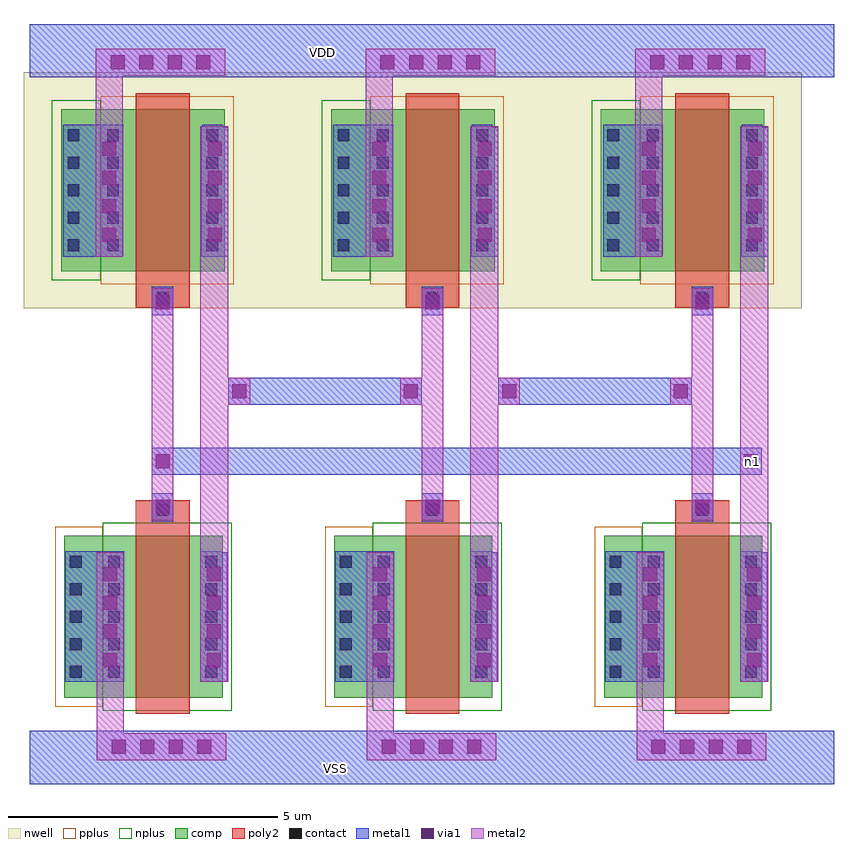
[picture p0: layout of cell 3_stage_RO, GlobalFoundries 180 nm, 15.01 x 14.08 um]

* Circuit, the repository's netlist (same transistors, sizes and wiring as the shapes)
* Extracted by KLayout with GF180MCU LVS runset on : 31/08/2025 02:00

.SUBCKT 3_stage_RO VSS n1 VDD
M$1 \$2 n1 VDD VDD pfet_03v3 L=1U W=3U AS=1.95P AD=1.95P PS=7.3U PD=7.3U
M$2 \$3 \$2 VDD VDD pfet_03v3 L=1U W=3U AS=1.95P AD=1.95P PS=7.3U PD=7.3U
M$3 n1 \$3 VDD VDD pfet_03v3 L=1U W=3U AS=1.95P AD=1.95P PS=7.3U PD=7.3U
M$4 \$2 n1 VSS VSS nfet_03v3 L=1U W=3U AS=1.83P AD=1.83P PS=7.22U PD=7.22U
M$5 \$3 \$2 VSS VSS nfet_03v3 L=1U W=3U AS=1.83P AD=1.83P PS=7.22U PD=7.22U
M$6 n1 \$3 VSS VSS nfet_03v3 L=1U W=3U AS=1.83P AD=1.83P PS=7.22U PD=7.22U
.ENDS 3_stage_RO

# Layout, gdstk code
from math import pi, radians
import gdstk
lib = gdstk.Library(unit=1e-6, precision=1e-09)
def R(c, l, rs):  # rectangles x0, y0, x1, y1
    for r in rs: c.add(gdstk.rectangle(r[:2], r[2:], *l))
def A(c, l, x, y, w, h, nx, ny, dx, dy):  # array of equal rectangles
    R(c, l, [(x+i*dx, y+j*dy, x+i*dx+w, y+j*dy+h) for i in range(nx) for j in range(ny)])
nwell = (21, 0)
comp = (22, 0)
poly2 = (30, 0)
pplus = (31, 0)
nplus = (32, 0)
contact = (33, 0)
metal1 = (34, 0)
via1 = (35, 0)
metal2 = (36, 0)

pfet = lib.new_cell('pfet')

nfet = lib.new_cell('nfet')
R(nfet, comp, [(-0.42,0,0,3), (0,0,1.38,3), (1.38,0,1.8,3), (1.8,0,2.51,3)])
R(nfet, poly2, [(0.19,-0.3,1.19,3.3), (0.19,3.3,1.19,3.66)])
R(nfet, pplus, [(1.8,-0.17,2.68,3.17)])
R(nfet, nplus, [(-0.59,-0.24,1.8,3.24)])
A(nfet, contact, -0.32, 0.37, 0.22, 0.22, 1, 5, 0, 0.51)
A(nfet, contact, 1.48, 0.37, 0.22, 0.22, 1, 5, 0, 0.51)
A(nfet, contact, 2.19, 0.37, 0.22, 0.22, 1, 5, 0, 0.51)
R(nfet, contact, [(0.58,3.37,0.8,3.59)])
R(nfet, metal1, [(-0.4,0.29,-0.02,2.71), (1.4,0.29,1.78,2.71), (2.11,0.29,2.49,2.71), (0.5,3.289,0.88,3.671)])

pfet_1 = lib.new_cell('pfet$1')
R(pfet_1, nwell, [(-1.15,-0.69,3.26,3.69)])
R(pfet_1, comp, [(-0.46,0,0,3), (0,0,1.38,3), (1.38,0,1.84,3), (1.84,0,2.57,3)])
R(pfet_1, poly2, [(0.19,-0.3,1.19,3.3), (0.19,3.3,1.19,3.68)])
R(pfet_1, pplus, [(-0.63,-0.24,1.84,3.24)])
R(pfet_1, nplus, [(1.84,-0.17,2.74,3.17)])
A(pfet_1, contact, -0.34, 0.37, 0.22, 0.22, 1, 5, 0, 0.51)
A(pfet_1, contact, 1.5, 0.37, 0.22, 0.22, 1, 5, 0, 0.51)
A(pfet_1, contact, 2.23, 0.37, 0.22, 0.22, 1, 5, 0, 0.51)
R(pfet_1, contact, [(0.58,3.38,0.8,3.6)])
R(pfet_1, metal1, [(-0.42,0.29,-0.04,2.71), (1.42,0.29,1.8,2.71), (2.15,0.29,2.53,2.71), (0.5,3.299,0.88,3.681)])

via_dev = lib.new_cell('via_dev')
R(via_dev, metal1, [(0,0,0.5,2.4)])
A(via_dev, via1, 0.12, 0.275, 0.26, 0.26, 1, 4, 0, 0.53)
R(via_dev, metal2, [(0,0,0.5,2.4)])

via_dev_1 = lib.new_cell('via_dev$1')
R(via_dev_1, metal1, [(0,0,2.4,0.5)])
A(via_dev_1, via1, 0.275, 0.12, 0.26, 0.26, 4, 1, 0.53, 0)
R(via_dev_1, metal2, [(0,0,2.4,0.5)])

via_dev_2 = lib.new_cell('via_dev$2')
R(via_dev_2, metal1, [(0,0,0.4,0.5)])
R(via_dev_2, via1, [(0.07,0.12,0.33,0.38)])
R(via_dev_2, metal2, [(0,0,0.4,0.5)])

inverter = lib.new_cell('inverter')
R(inverter, metal1, [(-1.76,-1.6,3.14,-0.61), (-0.72,0.29,-0.39,2.71), (0.5,3.26,0.9,3.29), (0.5,7.58,0.9,7.61), (-1.14,8.17,-0.41,10.61), (-1.76,11.49,3.14,12.48)])
R(inverter, metal2, [(-0.52,-0.66,-0.02,0.29), (1.4,0.29,1.92,10.59), (0.5,3.79,0.9,7.08), (-0.54,10.57,-0.04,11.52)])
inverter.add(gdstk.Reference(pfet, (-1.505,-0.125)))
inverter.add(gdstk.Reference(nfet, (1.39,0), rotation=pi, x_reflection=True))
inverter.add(gdstk.Reference(pfet_1, (1.39,10.9), rotation=pi))
inverter.add(gdstk.Reference(via_dev, (1.4,0.29)))
inverter.add(gdstk.Reference(via_dev, (-0.52,0.29)))
inverter.add(gdstk.Reference(via_dev, (1.42,8.17)))
inverter.add(gdstk.Reference(via_dev, (-0.54,8.17)))
inverter.add(gdstk.Reference(via_dev_1, (-0.54,11.52)))
inverter.add(gdstk.Reference(via_dev_1, (-0.52,-1.16)))
inverter.add(gdstk.Reference(via_dev_2, (0.5,7.08)))
inverter.add(gdstk.Reference(via_dev_2, (0.5,3.29)))

c_3_stage_ro = lib.new_cell('3_stage_RO')
R(c_3_stage_ro, nwell, [(2.54,8.78,8.13,13.16)])
R(c_3_stage_ro, metal1, [(-1.76,-0.03,13.14,0.96), (0.5,5.7,11.4,6.2), (2.32,7,5.1,7.5), (7.32,7,10.1,7.5), (-1.76,13.06,13.14,14.05)])
c_3_stage_ro.add(gdstk.Reference(inverter, (0,1.57)))
c_3_stage_ro.add(gdstk.Reference(inverter, (5,1.57)))
c_3_stage_ro.add(gdstk.Reference(inverter, (10,1.57)))
c_3_stage_ro.add(gdstk.Reference(via_dev_2, (1.92,7)))
c_3_stage_ro.add(gdstk.Reference(via_dev_2, (5.1,7)))
c_3_stage_ro.add(gdstk.Reference(via_dev_2, (6.92,7)))
c_3_stage_ro.add(gdstk.Reference(via_dev_2, (10.1,7)))
c_3_stage_ro.add(gdstk.Reference(via_dev_2, (11.4,5.7)))
c_3_stage_ro.add(gdstk.Reference(via_dev_2, (0.5,5.7)))
c_3_stage_ro.add(gdstk.Label('VDD', (3.67,13.52), layer=34, texttype=10))
c_3_stage_ro.add(gdstk.Label('VSS', (3.9,0.26), layer=34, texttype=10))
c_3_stage_ro.add(gdstk.Label('n1', (11.63,5.94), layer=34, texttype=10))

lib.write_gds('3_stage_RO.gds')
